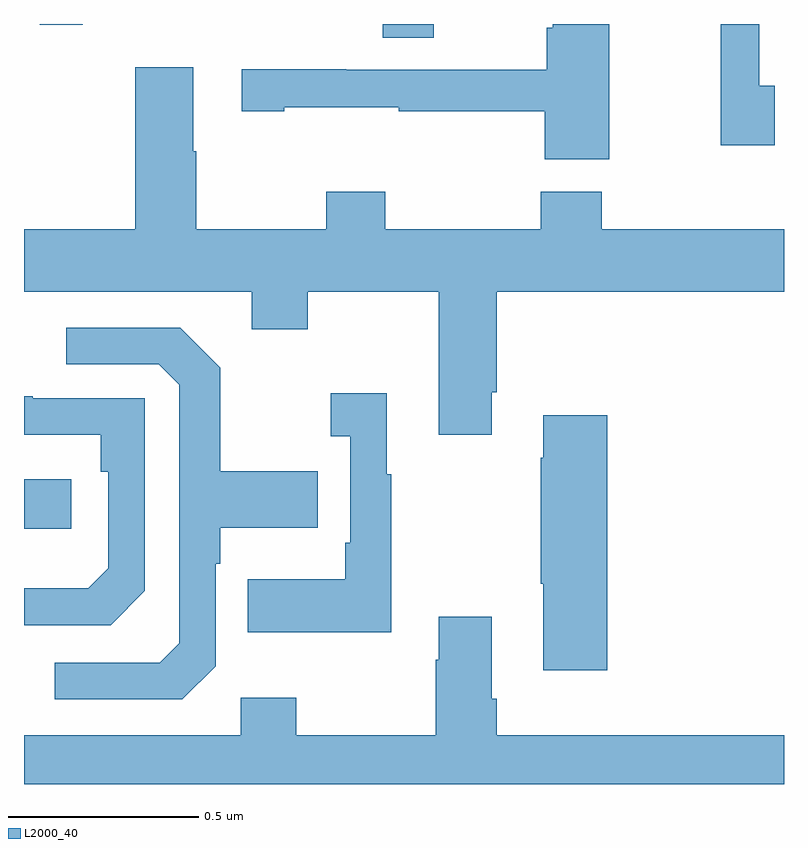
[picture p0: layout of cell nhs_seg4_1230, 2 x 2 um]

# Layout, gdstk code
import gdstk
lib = gdstk.Library(unit=1e-6, precision=1e-09)
def R(c, l, rs):  # rectangles x0, y0, x1, y1
    for r in rs: c.add(gdstk.rectangle(r[:2], r[2:], *l))
def P(c, l, *ps):  # polygons
    for p in ps: c.add(gdstk.Polygon(p, *l))
L2000_40 = (2000, 40)

nhs_seg4_1230 = lib.new_cell('nhs_seg4_1230')
R(nhs_seg4_1230, L2000_40, [(126,753.572,126.124,753.702), (126.944,754.864,127.078,754.9), (126.042,754.898,126.154,754.9)])
P(nhs_seg4_1230, L2000_40, [(127.975,754.737),(127.935,754.737),(127.935,754.9),(127.834,754.9),(127.834,754.581),(127.975,754.581)],
  [(127.54,754.9),(127.392,754.9),(127.392,754.89),(127.375,754.89),(127.375,754.78),(127.182,754.78),(127.182,754.779),(126.848,754.779),(126.848,754.781),(126.573,754.781),(126.573,754.671),(126.685,754.671),(126.685,754.681),(126.986,754.681),(126.986,754.671),(127.37,754.671),(127.37,754.544),(127.54,754.544)],
  [(127.231,753.931),(127.244,753.931),(127.244,754.196),(128,754.196),(128,754.36),(127.52,754.36),(127.52,754.459),(127.36,754.459),(127.36,754.36),(126.951,754.36),(126.951,754.459),(126.796,754.459),(126.796,754.36),(126.453,754.36),(126.453,754.565),(126.445,754.565),(126.445,754.786),(126.293,754.786),(126.293,754.36),(126,754.36),(126,754.196),(126.599,754.196),(126.599,754.097),(126.747,754.097),(126.747,754.196),(127.091,754.196),(127.091,753.819),(127.231,753.819)],
  [(126.504,753.21),(126.504,753.479),(126.517,753.479),(126.517,753.575),(126.773,753.575),(126.773,753.723),(126.517,753.723),(126.517,753.995),(126.411,754.101),(126.111,754.101),(126.111,754.005),(126.354,754.005),(126.408,753.951),(126.408,753.27),(126.357,753.219),(126.081,753.219),(126.081,753.123),(126.417,753.123)],
  [(126.967,753.715),(126.955,753.715),(126.955,753.928),(126.807,753.928),(126.807,753.815),(126.858,753.815),(126.858,753.535),(126.846,753.535),(126.846,753.439),(126.589,753.439),(126.589,753.299),(126.967,753.299)],
  [(126.318,753.408),(126.318,753.915),(126.023,753.915),(126.023,753.92),(126,753.92),(126,753.819),(126.202,753.819),(126.202,753.722),(126.222,753.722),(126.222,753.468),(126.169,753.415),(126,753.415),(126,753.318),(126.228,753.318)],
  [(127.535,753.871),(127.367,753.871),(127.367,753.758),(127.36,753.758),(127.36,753.427),(127.367,753.427),(127.367,753.2),(127.535,753.2)],
  [(128,753.028),(127.244,753.028),(127.244,753.124),(127.231,753.124),(127.231,753.34),(127.091,753.34),(127.091,753.227),(127.084,753.227),(127.084,753.028),(126.717,753.028),(126.717,753.127),(126.57,753.127),(126.57,753.028),(126,753.028),(126,752.9),(128,752.9)])

lib.write_gds('nhs_seg4_1230.gds')
